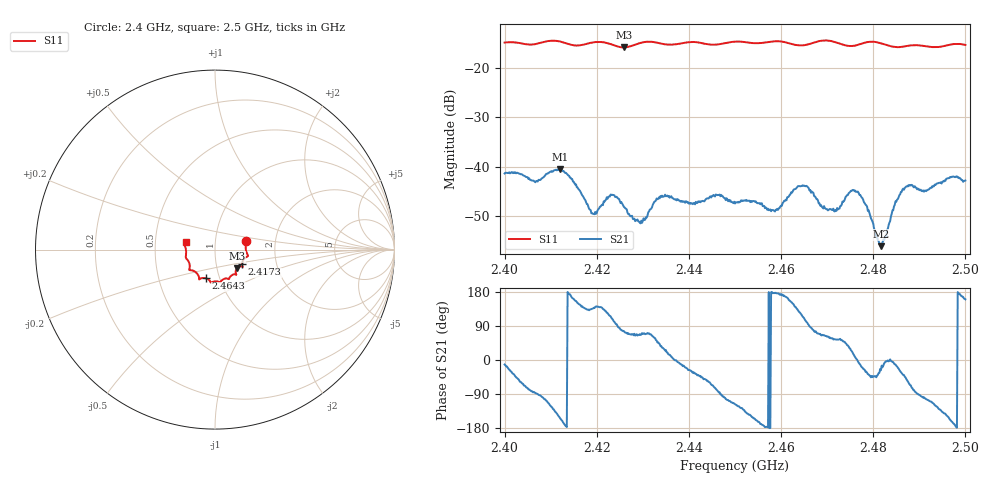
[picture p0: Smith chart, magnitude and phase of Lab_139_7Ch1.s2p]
# Hz S RI R 50
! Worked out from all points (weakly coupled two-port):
!   601 points, 2.4 GHz to 2.5 GHz, reference 50 ohm
!   highest |S21| = -40.54 dB at 2.412 GHz (marker M1); lowest = -56.1 dB at 2.4817 GHz (marker M2)
!   lowest |S11| = -15.9 dB at 2.4258 GHz (marker M3), VSWR 1.38, Z = 62.4 - j13.3 ohm
!   |S11| at or under -10 dB: start of sweep to end of sweep
!   S12 and S22 are empty: the file has one direction only
!   S11 on the Smith chart (normalised r, x): 2.4 GHz: 1.41, +0.14; 2.4173 GHz: 1.34, -0.22; 2.4643 GHz: 0.86, -0.28; 2.5 GHz: 0.72, +0.06
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2.4e9  0.1725 0.0491  0.00832 -0.00176  0 0  0 0
2.406667e9  0.1728 -0.00613  0.000396 -0.00693  0 0  0 0
2.412e9  0.1801 -0.0386  -0.00838 -0.00426  0 0  0 0
2.416667e9  0.1522 -0.0742  -0.00413 0.00336  0 0  0 0
2.417333e9  0.1514 -0.0815  -0.00346 0.00318  0 0  0 0
2.419333e9  0.1529 -0.0955  -0.00245 0.00223  0 0  0 0
2.423167e9  0.1447 -0.0936  -0.00189 0.00481  0 0  0 0
2.425833e9  0.1223 -0.1036  0.000901 0.00384  0 0  0 0
2.4295e9  0.1165 -0.1346  0.00108 0.00244  0 0  0 0
2.433333e9  0.1127 -0.1374  0.00324 0.00341  0 0  0 0
2.446333e9  0.0455 -0.166  0.000636 -0.00513  0 0  0 0
2.45e9  0.0291 -0.1813  -0.00188 -0.00379  0 0  0 0
2.458833e9  -0.0221 -0.1837  -0.00365 0.00017  0 0  0 0
2.464333e9  -0.0495 -0.1603  -0.0033 0.00541  0 0  0 0
2.466667e9  -0.0756 -0.1594  0.000644 0.00556  0 0  0 0
2.4715e9  -0.0879 -0.1603  0.00203 0.0029  0 0  0 0
2.476333e9  -0.1201 -0.118  0.00557 0.000316  0 0  0 0
2.481667e9  -0.1419 -0.1048  0.00139 -0.000714  0 0  0 0
2.483333e9  -0.1407 -0.0897  0.00254 -0.000165  0 0  0 0
2.485e9  -0.1446 -0.0717  0.00426 -0.00114  0 0  0 0
2.487333e9  -0.1571 -0.0538  0.00378 -0.00509  0 0  0 0
2.5e9  -0.1644 0.0431  -0.0068 0.00246  0 0  0 0
